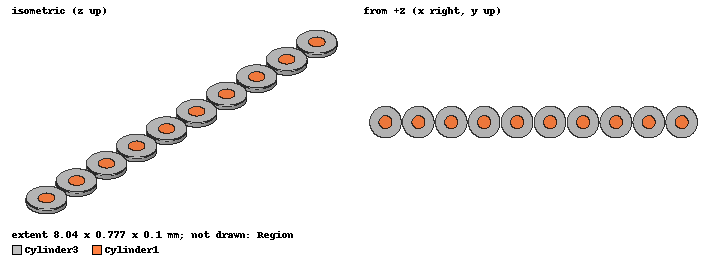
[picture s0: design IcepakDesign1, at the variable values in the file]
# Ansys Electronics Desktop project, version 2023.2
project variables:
  $gap = 0.03mm
  $power = 1mW
  $square_size = 1
  $conductor_diameter = 0.32mm
  $outer_diameter = 0.777mm
  $conductivity = 1.87
  $number_x = 10
  $number_y = 1
  $gap_y = 1.2mm
  $total_power = $secondary_loss * $number_x * $number_y / ($num_turns * pi * 0.03 * 10000)
  $secondary_loss = 10W
  $num_turns = 140
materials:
  Al-Extruded: thermal_conductivity=205 mass_density=2800 specific_heat=900 youngs_modulus=69000000000 poissons_ratio=0.33 thermal_expansion_coefficient=2.277e-06 thermal_material_type=Solid
  air: permittivity=1.0006 permeability=1.0000004 thermal_conductivity=0.0261 mass_density=1.1614 specific_heat=1005 thermal_expansion_coefficient=0.00333 thermal_material_type=Fluid diffusivity=2.88e-05 molecular_mass=0.028966 viscosity=1.84e-05 material_refractive_index=1.000293
  copper: permeability=0.999991 conductivity=58000000 thermal_conductivity=400 mass_density=8933 specific_heat=385 youngs_modulus=120000000000 poissons_ratio=0.38 thermal_expansion_coefficient=1.77e-05
  Nylon-Nylon-6: thermal_conductivity=0.25 mass_density=1150 specific_heat=1600 thermal_material_type=Solid
  Water(@360K): thermal_conductivity=0.6743 mass_density=967.4 specific_heat=4206 thermal_expansion_coefficient=0.0006979 thermal_material_type=Fluid diffusivity=1.657e-07 molecular_mass=0.018015 viscosity=0.000324 material_refractive_index=1.333
  potting_material: permittivity=1.0006 permeability=1.0000004 thermal_conductivity=$conductivity mass_density=1 specific_heat=1005 thermal_expansion_coefficient=0.00333 thermal_material_type=Fluid diffusivity=2.88e-05 molecular_mass=0.028966 viscosity=1.84e-05 material_refractive_index=1.000293
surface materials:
  Steel-oxidised-surface: surface_emissivity=0.8
  Cu-polished-surface: surface_emissivity=0.052
  Enamels & Laquer-surface: surface_emissivity=0.8

design IcepakDesign1 (Icepak, SteadyState TemperatureAndFlow, model units mm)
options: Default_Fluid_Material=air Default_Solid_Material=Al-Extruded Default_Surface_Material=Steel-oxidised-surface AmbientTemperature=20cel AmbientPressure=0n_per_meter_sq AmbientRadiationTemperature=20cel Gravity_Vector_CS_ID=Global Gravity_Vector_Axis=Z Positive=false Altitude=0meter
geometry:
  Cylinder1 [copper] = cylinder(axis=Z, base_centre=(0mm, 0mm, 0mm), radius=$conductor_diameter / 2, height=0.1mm)
  Cylinder2 = cylinder(axis=Z, base_centre=(0mm, 0mm, 0mm), radius=$conductor_diameter / 2, height=1mm)
  Cylinder3 [Nylon-Nylon-6] = cylinder(axis=Z, base_centre=(0mm, 0mm, 0mm), radius=$outer_diameter/2, height=0.1mm)
  Cylinder3.subtract(Cylinder2)
  Cylinder3.duplicate_along_line(step=($outer_diameter + $gap, 0mm, 0mm), total=$number_x, attached)
  Cylinder1.duplicate_along_line(step=($outer_diameter + $gap, 0mm, 0mm), total=$number_x, attached)
  coordinate_system RelativeCS1 = origin=(0.12mm, -0.04mm, 0mm) x=(1mm, 0mm, 0mm) y=(0mm, 1mm, 0mm)
  Cylinder1.duplicate_along_line(step=(0, $outer_diameter + $gap_y, 0), total=$number_y, attached) in RelativeCS1
  Cylinder3.duplicate_along_line(step=(0mm, $outer_diameter + $gap_y, 0mm), total=$number_y, attached) in RelativeCS1
  Region [potting_material, oriented by RelativeCS1] = region(absolute_offset: +X=0.01mm, -X=0.01mm, +Y=$gap_y/2, -Y=$gap_y/2, +Z=0mm, -Z=0mm) in RelativeCS1
  group Cylinder_Group = Cylinder1, Cylinder3
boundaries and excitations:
  Source1: Source Objects=Cylinder1 Thermal_Condition="Total Power" Total_Power=$total_power
  StationaryWall1: Stationary Wall Faces=Region.face(at (7.6615, 0, 0.05), at (3.6315, -0.9885, 0.05), at (3.6315, 0, 0.1), at (3.6315, 0.9885, 0.05), at (3.6315, 0, 0)) Thickness=0mm Solid_Material=Al-Extruded External_Condition="Heat Flux" Heat_Flux=0irrad_W_per_m2 Temperature=AmbientTemp Heat_Transfer_Coefficient=0w_per_m2kel Reference_Temperature=AmbientTemp Heat_Transfer_Data{Heat_Transfer_Convection_Type="Forced Convection"} External_Material=Steel-oxidised-surface External_Radiation_Reference_Temperature=AmbientTemp External_Radiation_View_Factor=1
  Source2: Source Faces=Region.face(at (-0.3985, 0, 0.05)) Thermal_Condition="Fixed Temperature" Temperature=AmbientTemp
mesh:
  MeshRegions:  Global{MeshMethod=MesherHD ComputeGap MeshRegionResolution=2 MinGapX=1mm MinGapY=1mm MinGapZ=1mm Objects=Region FacetLevel=3 ProximitySizeFunction CurvatureSizeFunction OptimizePCBMesh}
  MeshOperations:
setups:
  Setup1: IcepakSteadyState Flow_Regime=Laminar Include_Temperature=true Include_Flow=false Convergence_Criteria_-_Flow=0.001 Convergence_Criteria_-_Energy=1e-12 disabled Radiation_Model=Off Under-relaxation_-_Pressure=0.3 Under-relaxation_-_Momentum=0.7 Under-relaxation_-_Temperature=1 Discretization_Scheme_-_Pressure=Standard Discretization_Scheme_-_Momentum=First Discretization_Scheme_-_Temperature=First Convergence_Criteria_-_Max_Iterations=100
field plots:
  SurfTemperature1: Temperature over Region.face(all 6) Cylinder1.face(all 30) Cylinder3.face(all 40) on Setup1 : SteadyState
